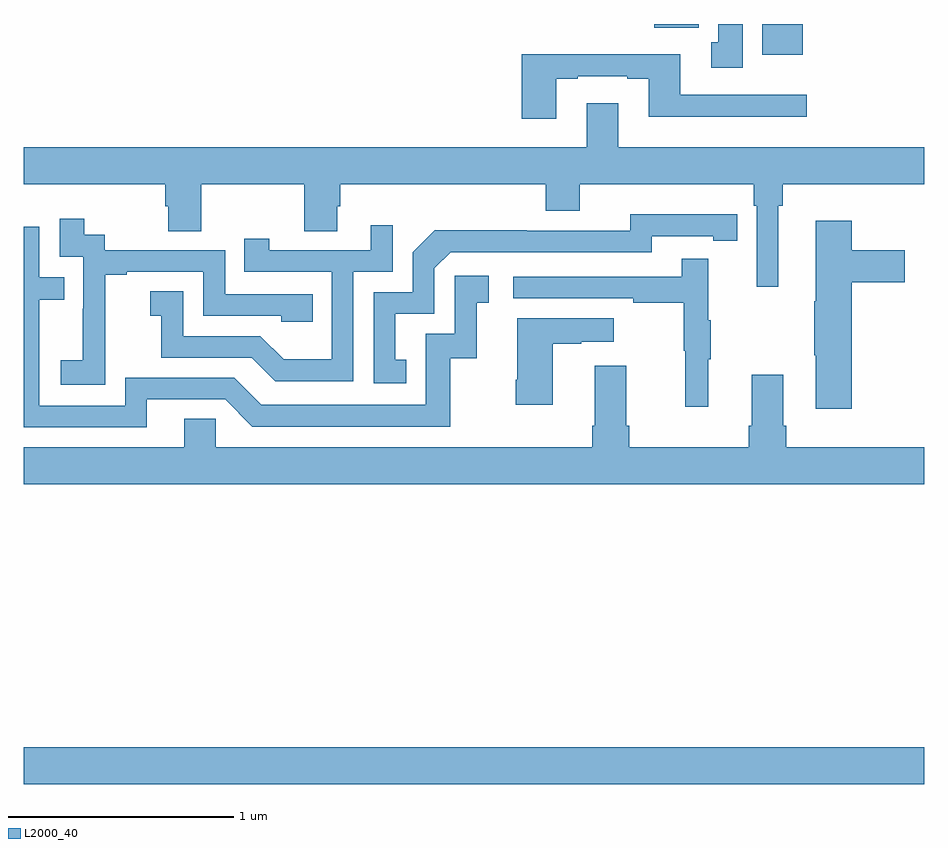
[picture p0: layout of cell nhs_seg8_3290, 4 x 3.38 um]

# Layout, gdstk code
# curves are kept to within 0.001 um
import gdstk
lib = gdstk.Library(unit=1e-6, precision=1e-09)
def R(c, l, rs):  # rectangles x0, y0, x1, y1
    for r in rs: c.add(gdstk.rectangle(r[:2], r[2:], *l))
def P(c, l, *ps):  # polygons
    for p in ps: c.add(gdstk.Polygon(p, *l))
L2000_40 = (2000, 40)

nhs_seg8_3290 = lib.new_cell('nhs_seg8_3290')
R(nhs_seg8_3290, L2000_40, [(315,1092.524,319,1092.688), (318.281,1095.764,318.46,1095.9), (317.801,1095.884,317.998,1095.9)])
P(nhs_seg8_3290, L2000_40, [(318.193,1095.9),(318.086,1095.9),(318.086,1095.818),(318.053,1095.818),(318.053,1095.705),(318.193,1095.705)],
  [(317.365,1095.657),(317.461,1095.657),(317.461,1095.669),(317.681,1095.669),(317.681,1095.657),(317.777,1095.657),(317.777,1095.488),(318.478,1095.488),(318.478,1095.585),(317.917,1095.585),(317.917,1095.766),(317.213,1095.766),(317.213,1095.48),(317.365,1095.48)],
  [(318.352,1095.092),(318.371,1095.092),(318.371,1095.188),(319,1095.188),(319,1095.352),(317.641,1095.352),(317.641,1095.547),(317.501,1095.547),(317.501,1095.352),(315,1095.352),(315,1095.188),(315.629,1095.188),(315.629,1095.09),(315.641,1095.09),(315.641,1094.98),(315.789,1094.98),(315.789,1095.188),(316.246,1095.188),(316.246,1094.98),(316.393,1094.98),(316.393,1095.09),(316.406,1095.09),(316.406,1095.188),(317.318,1095.188),(317.318,1095.071),(317.47,1095.071),(317.47,1095.188),(318.242,1095.188),(318.242,1095.092),(318.255,1095.092),(318.255,1094.733),(318.352,1094.733)],
  [(316.7,1094.409),(316.651,1094.409),(316.651,1094.613),(316.824,1094.613),(316.824,1094.814),(316.896,1094.886),(317.79,1094.886),(317.79,1094.958),(318.062,1094.958),(318.062,1094.938),(318.17,1094.938),(318.17,1095.054),(317.694,1095.055),(317.694,1094.982),(317.234,1094.982),(317.234,1094.984),(316.826,1094.984),(316.728,1094.886),(316.728,1094.709),(316.554,1094.709),(316.554,1094.304),(316.7,1094.304)],
  [(315.363,1094.503),(315.362,1094.503),(315.362,1094.787),(315.457,1094.787),(315.457,1094.799),(315.798,1094.799),(315.798,1094.604),(316.143,1094.604),(316.143,1094.577),(316.283,1094.577),(316.283,1094.7),(315.894,1094.7),(315.894,1094.895),(315.36,1094.895),(315.36,1094.964),(315.268,1094.964),(315.268,1095.034),(315.159,1095.034),(315.159,1094.865),(315.264,1094.865),(315.264,1094.636),(315.263,1094.636),(315.263,1094.407),(315.165,1094.407),(315.165,1094.297),(315.363,1094.297)],
  [(318.677,1094.753),(318.913,1094.753),(318.913,1094.895),(318.677,1094.895),(318.677,1095.025),(318.518,1095.025),(318.518,1094.669),(318.511,1094.669),(318.511,1094.428),(318.518,1094.428),(318.518,1094.19),(318.677,1094.19)],
  [(316.464,1094.799),(316.638,1094.799),(316.638,1095.007),(316.541,1095.007),(316.541,1094.895),(316.09,1094.895),(316.09,1094.947),(315.979,1094.947),(315.979,1094.799),(316.368,1094.799),(316.368,1094.41),(316.154,1094.41),(316.05,1094.514),(315.708,1094.514),(315.708,1094.713),(315.561,1094.713),(315.561,1094.603),(315.61,1094.603),(315.61,1094.418),(316.013,1094.418),(316.118,1094.313),(316.464,1094.313)],
  [(315.547,1094.232),(315.894,1094.232),(316.014,1094.112),(316.894,1094.112),(316.894,1094.415),(317.012,1094.415),(317.012,1094.661),(317.065,1094.661),(317.065,1094.782),(316.914,1094.782),(316.914,1094.523),(316.785,1094.523),(316.785,1094.208),(316.056,1094.208),(315.936,1094.328),(315.45,1094.328),(315.45,1094.205),(315.069,1094.205),(315.069,1094.674),(315.179,1094.674),(315.179,1094.775),(315.069,1094.775),(315.069,1095),(315,1095),(315,1094.109),(315.547,1094.109)],
  [(318.041,1094.411),(318.052,1094.411),(318.052,1094.585),(318.041,1094.585),(318.041,1094.857),(317.923,1094.857),(317.923,1094.778),(317.175,1094.778),(317.175,1094.682),(317.707,1094.682),(317.707,1094.662),(317.931,1094.662),(317.931,1094.448),(317.938,1094.448),(317.938,1094.199),(318.041,1094.199)],
  [(317.35,1094.479),(317.477,1094.479),(317.477,1094.489),(317.62,1094.489),(317.62,1094.593),(317.192,1094.593),(317.192,1094.32),(317.185,1094.32),(317.185,1094.208),(317.35,1094.208)],
  [(319,1094.02),(318.386,1094.02),(318.386,1094.116),(318.373,1094.116),(318.373,1094.341),(318.233,1094.341),(318.233,1094.116),(318.221,1094.116),(318.221,1094.02),(317.69,1094.02),(317.69,1094.116),(317.677,1094.116),(317.677,1094.383),(317.537,1094.383),(317.537,1094.116),(317.525,1094.116),(317.525,1094.02),(315.852,1094.02),(315.852,1094.147),(315.713,1094.147),(315.713,1094.02),(315,1094.02),(315,1093.856),(319,1093.856)])

lib.write_gds('nhs_seg8_3290.gds')
